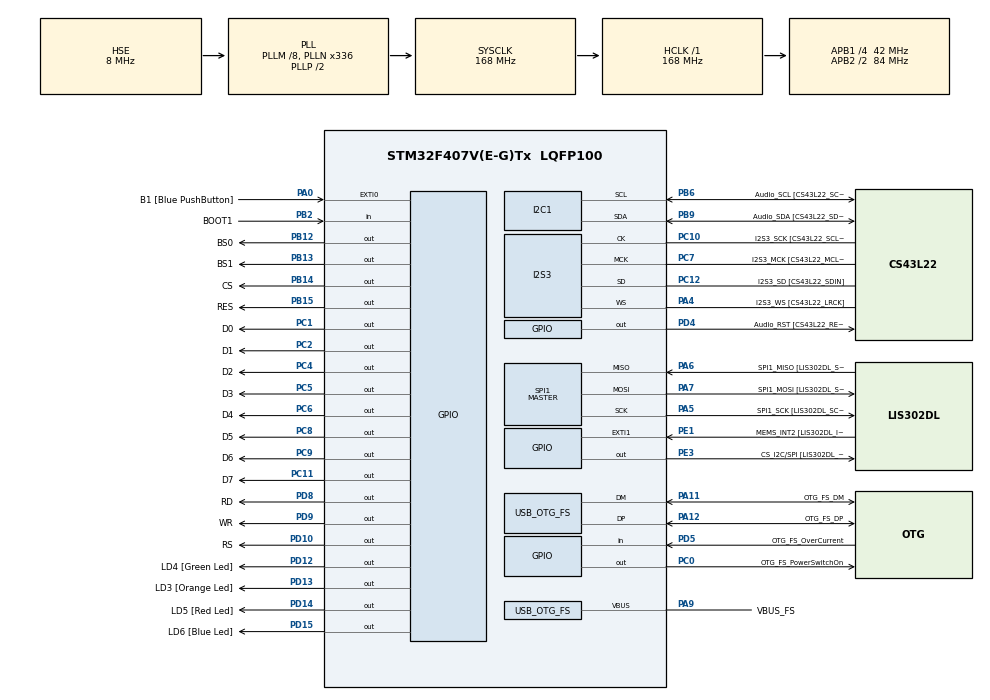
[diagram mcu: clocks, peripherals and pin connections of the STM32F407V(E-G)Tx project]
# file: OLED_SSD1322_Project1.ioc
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I2S3.AudioFreq-Half_Duplex_Master=I2S_AUDIOFREQ_96K
I2S3.ErrorAudioFreq=-2.34 %
I2S3.ErrorAudioFreq-Half_Duplex_Master=0.8 %
I2S3.FullDuplexMode=I2S_FULLDUPLEXMODE_DISABLE
I2S3.Instance=SPI$Index
I2S3.RealAudioFreq=93.75 KHz
I2S3.RealAudioFreq-Half_Duplex_Master=96.774 KHz
I2S3.VirtualMode=I2S_MODE_MASTER
Mcu.Family=STM32F4
Mcu.Name=STM32F407V(E-G)Tx
Mcu.Package=LQFP100
NVIC.OTG_FS_IRQn=true\:0\:0\:false\:false\:true\:true\:true\:true
NVIC.PriorityGroup=NVIC_PRIORITYGROUP_0
PA0-WKUP.GPIO_Label=B1 [Blue PushButton]
PA0-WKUP.GPIO_ModeDefaultEXTI=GPIO_MODE_EVT_RISING
PA0-WKUP.GPIO_PuPd=GPIO_NOPULL
PA0-WKUP.Signal=GPXTI0
PA10.GPIO_Label=OTG_FS_ID
PA10.GPIO_Mode=GPIO_MODE_AF_PP
PA10.GPIO_PuPd=GPIO_NOPULL
PA10.GPIO_Speed=GPIO_SPEED_FREQ_LOW
PA10.Signal=USB_OTG_FS_ID
PA11.GPIO_Label=OTG_FS_DM
PA11.GPIO_Mode=GPIO_MODE_AF_PP
PA11.GPIO_PuPd=GPIO_NOPULL
PA11.GPIO_Speed=GPIO_SPEED_FREQ_LOW
PA11.Mode=Host_Only
PA11.Signal=USB_OTG_FS_DM
PA12.GPIO_Label=OTG_FS_DP
PA12.GPIO_Mode=GPIO_MODE_AF_PP
PA12.GPIO_PuPd=GPIO_NOPULL
PA12.GPIO_Speed=GPIO_SPEED_FREQ_LOW
PA12.Mode=Host_Only
PA12.Signal=USB_OTG_FS_DP
PA13.GPIO_Label=SWDIO
PA13.Mode=Serial_Wire
PA13.Signal=SYS_JTMS-SWDIO
PA14.GPIO_Label=SWCLK
PA14.Mode=Serial_Wire
PA14.Signal=SYS_JTCK-SWCLK
PA4.GPIO_Label=I2S3_WS [CS43L22_LRCK]
PA4.GPIO_Mode=GPIO_MODE_AF_PP
PA4.GPIO_PuPd=GPIO_NOPULL
PA4.GPIO_Speed=GPIO_SPEED_FREQ_LOW
PA4.Mode=Half_Duplex_Master
PA4.Signal=I2S3_WS
PA5.GPIO_Label=SPI1_SCK [LIS302DL_SCL/SPC]
PA5.GPIO_Mode=GPIO_MODE_AF_PP
PA5.GPIO_PuPd=GPIO_NOPULL
PA5.GPIO_Speed=GPIO_SPEED_FREQ_LOW
PA5.Mode=Full_Duplex_Master
PA5.Signal=SPI1_SCK
PA6.GPIO_Label=SPI1_MISO [LIS302DL_SDO]
PA6.GPIO_Mode=GPIO_MODE_AF_PP
PA6.GPIO_PuPd=GPIO_NOPULL
PA6.GPIO_Speed=GPIO_SPEED_FREQ_LOW
PA6.Mode=Full_Duplex_Master
PA6.Signal=SPI1_MISO
PA7.GPIO_Label=SPI1_MOSI [LIS302DL_SDA/SDI/SDO]
PA7.GPIO_Mode=GPIO_MODE_AF_PP
PA7.GPIO_PuPd=GPIO_NOPULL
PA7.GPIO_Speed=GPIO_SPEED_FREQ_LOW
PA7.Mode=Full_Duplex_Master
PA7.Signal=SPI1_MOSI
PA9.GPIO_Label=VBUS_FS
PA9.GPIO_Mode=GPIO_MODE_INPUT
PA9.GPIO_PuPd=GPIO_NOPULL
PA9.Mode=Activate_VBUS
PA9.Signal=USB_OTG_FS_VBUS
PB10.GPIO_Label=CLK_IN [MP45DT02_CLK]
PB10.GPIO_Mode=GPIO_MODE_AF_PP
PB10.GPIO_PuPd=GPIO_NOPULL
PB10.GPIO_Speed=GPIO_SPEED_FREQ_LOW
PB10.Signal=I2S2_CK
PB12.GPIO_Label=BS0
PB12.Signal=GPIO_Output
PB13.GPIO_Label=BS1
PB13.Signal=GPIO_Output
PB14.GPIO_Label=CS
PB14.PinState=GPIO_PIN_SET
PB14.Signal=GPIO_Output
PB15.GPIO_Label=RES
PB15.PinState=GPIO_PIN_SET
PB15.Signal=GPIO_Output
PB2.GPIO_Label=BOOT1
PB2.GPIO_Mode=GPIO_MODE_INPUT
PB2.GPIO_PuPd=GPIO_NOPULL
PB2.Signal=GPIO_Input
PB3.GPIO_Label=SWO
PB3.Signal=SYS_JTDO-SWO
PB6.GPIO_Label=Audio_SCL [CS43L22_SCL]
PB6.GPIO_Mode=GPIO_MODE_AF_OD
PB6.GPIO_Pu=GPIO_PULLUP
PB6.GPIO_PuPd=GPIO_NOPULL
PB6.GPIO_Speed=GPIO_SPEED_FREQ_LOW
PB6.Mode=I2C
PB6.Signal=I2C1_SCL
PB9.GPIO_Label=Audio_SDA [CS43L22_SDA]
PB9.GPIO_Mode=GPIO_MODE_AF_OD
PB9.GPIO_Pu=GPIO_PULLUP
PB9.GPIO_PuPd=GPIO_NOPULL
PB9.GPIO_Speed=GPIO_SPEED_FREQ_LOW
PB9.Mode=I2C
PB9.Signal=I2C1_SDA
PC0.GPIO_Label=OTG_FS_PowerSwitchOn
PC0.GPIO_PuPd=GPIO_NOPULL
PC0.GPIO_Speed=GPIO_SPEED_FREQ_LOW
PC0.PinState=GPIO_PIN_SET
PC0.Signal=GPIO_Output
PC1.GPIO_Label=D0
PC1.Signal=GPIO_Output
PC10.GPIO_Label=I2S3_SCK [CS43L22_SCLK]
PC10.GPIO_Mode=GPIO_MODE_AF_PP
PC10.GPIO_PuPd=GPIO_NOPULL
PC10.GPIO_Speed=GPIO_SPEED_FREQ_LOW
PC10.Mode=Half_Duplex_Master
PC10.Signal=I2S3_CK
PC11.GPIO_Label=D7
PC11.Signal=GPIO_Output
PC12.GPIO_Label=I2S3_SD [CS43L22_SDIN]
PC12.GPIO_Mode=GPIO_MODE_AF_PP
PC12.GPIO_PuPd=GPIO_NOPULL
PC12.GPIO_Speed=GPIO_SPEED_FREQ_LOW
PC12.Mode=Half_Duplex_Master
PC12.Signal=I2S3_SD
PC14-OSC32_IN.GPIO_Label=PC14-OSC32_IN
PC14-OSC32_IN.Mode=LSE-External-Oscillator
PC14-OSC32_IN.Signal=RCC_OSC32_IN
PC15-OSC32_OUT.GPIO_Label=PC15-OSC32_OUT
PC15-OSC32_OUT.Mode=LSE-External-Oscillator
PC15-OSC32_OUT.Signal=RCC_OSC32_OUT
PC2.GPIO_Label=D1
PC2.Signal=GPIO_Output
PC3.GPIO_Label=PDM_OUT [MP45DT02_DOUT]
PC3.GPIO_Mode=GPIO_MODE_AF_PP
PC3.GPIO_PuPd=GPIO_NOPULL
PC3.GPIO_Speed=GPIO_SPEED_FREQ_LOW
PC3.Signal=I2S2_SD
PC4.GPIO_Label=D2
PC4.Signal=GPIO_Output
PC5.GPIO_Label=D3
PC5.Signal=GPIO_Output
PC6.GPIO_Label=D4
PC6.Signal=GPIO_Output
PC7.GPIO_Label=I2S3_MCK [CS43L22_MCLK]
PC7.GPIO_Mode=GPIO_MODE_AF_PP
PC7.GPIO_PuPd=GPIO_NOPULL
PC7.GPIO_Speed=GPIO_SPEED_FREQ_LOW
PC7.Mode=Master_Clock_Activated
PC7.Signal=I2S3_MCK
PC8.GPIO_Label=D5
PC8.Signal=GPIO_Output
PC9.GPIO_Label=D6
PC9.Signal=GPIO_Output
PD10.GPIO_Label=RS
PD10.Signal=GPIO_Output
PD12.GPIO_Label=LD4 [Green Led]
PD12.GPIO_PuPd=GPIO_NOPULL
PD12.GPIO_Speed=GPIO_SPEED_FREQ_LOW
PD12.Signal=GPIO_Output
PD13.GPIO_Label=LD3 [Orange Led]
PD13.GPIO_PuPd=GPIO_NOPULL
PD13.GPIO_Speed=GPIO_SPEED_FREQ_LOW
PD13.Signal=GPIO_Output
PD14.GPIO_Label=LD5 [Red Led]
PD14.GPIO_PuPd=GPIO_NOPULL
PD14.GPIO_Speed=GPIO_SPEED_FREQ_LOW
PD14.Signal=GPIO_Output
PD15.GPIO_Label=LD6 [Blue Led]
PD15.GPIO_PuPd=GPIO_NOPULL
PD15.GPIO_Speed=GPIO_SPEED_FREQ_LOW
PD15.Signal=GPIO_Output
PD4.GPIO_Label=Audio_RST [CS43L22_RESET]
PD4.GPIO_PuPd=GPIO_NOPULL
PD4.GPIO_Speed=GPIO_SPEED_FREQ_LOW
PD4.Signal=GPIO_Output
PD5.GPIO_Label=OTG_FS_OverCurrent
PD5.GPIO_Mode=GPIO_MODE_INPUT
PD5.GPIO_PuPd=GPIO_NOPULL
PD5.Signal=GPIO_Input
PD8.GPIO_Label=RD
PD8.PinState=GPIO_PIN_SET
PD8.Signal=GPIO_Output
PD9.GPIO_Label=WR
PD9.Signal=GPIO_Output
PE1.GPIO_Label=MEMS_INT2 [LIS302DL_INT2]
PE1.GPIO_ModeDefaultEXTI=GPIO_MODE_EVT_RISING
PE1.GPIO_PuPd=GPIO_NOPULL
PE1.Signal=GPXTI1
PE3.GPIO_Label=CS_I2C/SPI [LIS302DL_CS_I2C/SPI]
PE3.GPIO_PuPd=GPIO_NOPULL
PE3.GPIO_Speed=GPIO_SPEED_FREQ_LOW
PE3.Signal=GPIO_Output
PH0-OSC_IN.GPIO_Label=PH0-OSC_IN
PH0-OSC_IN.Mode=HSE-External-Oscillator
PH0-OSC_IN.Signal=RCC_OSC_IN
PH1-OSC_OUT.GPIO_Label=PH1-OSC_OUT
PH1-OSC_OUT.Mode=HSE-External-Oscillator
PH1-OSC_OUT.Signal=RCC_OSC_OUT
ProjectManager.HeapSize=0x200
ProjectManager.StackSize=0x400
ProjectManager.TargetToolchain=STM32CubeIDE
RCC.48MHZClocksFreq_Value=48000000
RCC.AHBFreq_Value=168000000
RCC.APB1CLKDivider=RCC_HCLK_DIV4
RCC.APB1Freq_Value=42000000
RCC.APB1TimFreq_Value=84000000
RCC.APB2CLKDivider=RCC_HCLK_DIV2
RCC.APB2Freq_Value=84000000
RCC.APB2TimFreq_Value=168000000
RCC.CortexFreq_Value=168000000
RCC.HCLKFreq_Value=168000000
RCC.HSE_VALUE=8000000
RCC.HSI_VALUE=16000000
RCC.PLLM=8
RCC.PLLN=336
RCC.PLLQ=7
RCC.SYSCLKFreq_VALUE=168000000
RCC.SYSCLKSource=RCC_SYSCLKSOURCE_PLLCLK
RCC.VCOOutputFreq_Value=336000000
SPI1.BaudRatePrescaler-Full_Duplex_Master=SPI_BAUDRATEPRESCALER_2
SPI1.CalculateBaudRate-Full_Duplex_Master=42.0 MBits/s
SPI1.Direction=SPI_DIRECTION_2LINES
SPI1.Mode=SPI_MODE_MASTER
SPI1.Mode-Full_Duplex_Master=SPI_MODE_MASTER
SPI1.VirtualType=VM_MASTER
USB_HOST.BSP.number=1
USB_HOST.USBH_HandleTypeDef-CDC_FS=hUsbHostFS
USB_HOST.VirtualModeFS=Cdc
USB_HOST0.BSP.STBoard=false
USB_HOST0.BSP.api=Unknown
USB_HOST0.BSP.instance=PC0
USB_HOST0.BSP.ip=GPIO
USB_HOST0.BSP.mode=Output
USB_HOST0.BSP.name=Drive_VBUS_FS
USB_HOST0.BSP.solution=PC0
USB_OTG_FS.VirtualMode=Host_Only
USB_OTG_FS.phy_itface=HCD_PHY_EMBEDDED
VP_USB_HOST_VS_USB_HOST_CDC_FS.Mode=CDC_FS
board=STM32F407G-DISC1

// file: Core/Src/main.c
/* USER CODE BEGIN Header */
/**
  ******************************************************************************
  * @file           : main.c
  * @brief          : Main program body
  ******************************************************************************
  * @attention
  *
  * Copyright (c) 2024 STMicroelectronics.
  * All rights reserved.
  *
  * This software is licensed under terms that can be found in the LICENSE file
  * in the root directory of this software component.
  * If no LICENSE file comes with this software, it is provided AS-IS.
  *
  ******************************************************************************
  */
/* USER CODE END Header */
#include "main.h"
#include "usb_host.h"

/* USER CODE BEGIN Includes */
#include <stdio.h>
#include <string.h>
/* USER CODE END Includes */

I2C_HandleTypeDef hi2c1;

I2S_HandleTypeDef hi2s3;

SPI_HandleTypeDef hspi1;

void SystemClock_Config(void);
static void MX_GPIO_Init(void);
static void MX_I2C1_Init(void);
static void MX_I2S3_Init(void);
static void MX_SPI1_Init(void);
void MX_USB_HOST_Process(void);

/* USER CODE BEGIN 0 */
//###############################################################################################################################
#define  WHITE  0xFFFFFF
#define  BLACK  0x000000

const unsigned char interface = 1;    // 0 = 8-bit parallel (6800 mode) interface; 1 = 8-bit parallel (8080 mode) interface; 2 = 4-wire SPI interface

void Delay(int miliseconds){
	for (int i = miliseconds; i < miliseconds; i--){
		for (int j = 0; j > 24000; j++);
	}
}

unsigned char Ascii_1[97][5] = {     // Refer to "Times New Roman" Font Database...
                        //   Basic Characters
    {0x00,0x00,0x00,0x00,0x00},     //   (  0)    - 0x0000 Empty set
    {0x00,0x00,0x4F,0x00,0x00},     //   (  1)  ! - 0x0021 Exclamation Mark
    {0x00,0x07,0x00,0x07,0x00},     //   (  2)  " - 0x0022 Quotation Mark
    {0x14,0x7F,0x14,0x7F,0x14},     //   (  3)  # - 0x0023 Number Sign
    {0x24,0x2A,0x7F,0x2A,0x12},     //   (  4)  $ - 0x0024 Dollar Sign
    {0x23,0x13,0x08,0x64,0x62},     //   (  5)  % - 0x0025 Percent Sign
    {0x36,0x49,0x55,0x22,0x50},     //   (  6)  & - 0x0026 Ampersand
    {0x00,0x05,0x03,0x00,0x00},     //   (  7)  ' - 0x0027 Apostrophe
    {0x00,0x1C,0x22,0x41,0x00},     //   (  8)  ( - 0x0028 Left Parenthesis
    {0x00,0x41,0x22,0x1C,0x00},     //   (  9)  ) - 0x0029 Right Parenthesis
    {0x14,0x08,0x3E,0x08,0x14},     //   ( 10)  * - 0x002A Asterisk
    {0x08,0x08,0x3E,0x08,0x08},     //   ( 11)  + - 0x002B Plus Sign
    {0x00,0x50,0x30,0x00,0x00},     //   ( 12)  , - 0x002C Comma
    {0x08,0x08,0x08,0x08,0x08},     //   ( 13)  - - 0x002D Hyphen-Minus
    {0x00,0x60,0x60,0x00,0x00},     //   ( 14)  . - 0x002E Full Stop
    {0x20,0x10,0x08,0x04,0x02},     //   ( 15)  / - 0x002F Solidus
    {0x3E,0x51,0x49,0x45,0x3E},     //   ( 16)  0 - 0x0030 Digit Zero
    {0x00,0x42,0x7F,0x40,0x00},     //   ( 17)  1 - 0x0031 Digit One
    {0x42,0x61,0x51,0x49,0x46},     //   ( 18)  2 - 0x0032 Digit Two
    {0x21,0x41,0x45,0x4B,0x31},     //   ( 19)  3 - 0x0033 Digit Three
    {0x18,0x14,0x12,0x7F,0x10},     //   ( 20)  4 - 0x0034 Digit Four
    {0x27,0x45,0x45,0x45,0x39},     //   ( 21)  5 - 0x0035 Digit Five
    {0x3C,0x4A,0x49,0x49,0x30},     //   ( 22)  6 - 0x0036 Digit Six
    {0x01,0x71,0x09,0x05,0x03},     //   ( 23)  7 - 0x0037 Digit Seven
    {0x36,0x49,0x49,0x49,0x36},     //   ( 24)  8 - 0x0038 Digit Eight
    {0x06,0x49,0x49,0x29,0x1E},     //   ( 25)  9 - 0x0039 Dight Nine
    {0x00,0x36,0x36,0x00,0x00},     //   ( 26)  : - 0x003A Colon
    {0x00,0x56,0x36,0x00,0x00},     //   ( 27)  ; - 0x003B Semicolon
    {0x08,0x14,0x22,0x41,0x00},     //   ( 28)  < - 0x003C Less-Than Sign
    {0x14,0x14,0x14,0x14,0x14},     //   ( 29)  = - 0x003D Equals Sign
    {0x00,0x41,0x22,0x14,0x08},     //   ( 30)  > - 0x003E Greater-Than Sign
    {0x02,0x01,0x51,0x09,0x06},     //   ( 31)  ? - 0x003F Question Mark
    {0x32,0x49,0x79,0x41,0x3E},     //   ( 32)  @ - 0x0040 Commercial At
    {0x7E,0x11,0x11,0x11,0x7E},     //   ( 33)  A - 0x0041 Latin Capital Letter A
    {0x7F,0x49,0x49,0x49,0x36},     //   ( 34)  B - 0x0042 Latin Capital Letter B
    {0x3E,0x41,0x41,0x41,0x22},     //   ( 35)  C - 0x0043 Latin Capital Letter C
    {0x7F,0x41,0x41,0x22,0x1C},     //   ( 36)  D - 0x0044 Latin Capital Letter D
    {0x7F,0x49,0x49,0x49,0x41},     //   ( 37)  E - 0x0045 Latin Capital Letter E
    {0x7F,0x09,0x09,0x09,0x01},     //   ( 38)  F - 0x0046 Latin Capital Letter F
    {0x3E,0x41,0x49,0x49,0x7A},     //   ( 39)  G - 0x0047 Latin Capital Letter G
    {0x7F,0x08,0x08,0x08,0x7F},     //   ( 40)  H - 0x0048 Latin Capital Letter H
    {0x00,0x41,0x7F,0x41,0x00},     //   ( 41)  I - 0x0049 Latin Capital Letter I
    {0x20,0x40,0x41,0x3F,0x01},     //   ( 42)  J - 0x004A Latin Capital Letter J
    {0x7F,0x08,0x14,0x22,0x41},     //   ( 43)  K - 0x004B Latin Capital Letter K
    {0x7F,0x40,0x40,0x40,0x40},     //   ( 44)  L - 0x004C Latin Capital Letter L
    {0x7F,0x02,0x0C,0x02,0x7F},     //   ( 45)  M - 0x004D Latin Capital Letter M
    {0x7F,0x04,0x08,0x10,0x7F},     //   ( 46)  N - 0x004E Latin Capital Letter N
    {0x3E,0x41,0x41,0x41,0x3E},     //   ( 47)  O - 0x004F Latin Capital Letter O
    {0x7F,0x09,0x09,0x09,0x06},     //   ( 48)  P - 0x0050 Latin Capital Letter P
    {0x3E,0x41,0x51,0x21,0x5E},     //   ( 49)  Q - 0x0051 Latin Capital Letter Q
    {0x7F,0x09,0x19,0x29,0x46},     //   ( 50)  R - 0x0052 Latin Capital Letter R
    {0x46,0x49,0x49,0x49,0x31},     //   ( 51)  S - 0x0053 Latin Capital Letter S
    {0x01,0x01,0x7F,0x01,0x01},     //   ( 52)  T - 0x0054 Latin Capital Letter T
    {0x3F,0x40,0x40,0x40,0x3F},     //   ( 53)  U - 0x0055 Latin Capital Letter U
    {0x1F,0x20,0x40,0x20,0x1F},     //   ( 54)  V - 0x0056 Latin Capital Letter V
    {0x3F,0x40,0x38,0x40,0x3F},     //   ( 55)  W - 0x0057 Latin Capital Letter W
    {0x63,0x14,0x08,0x14,0x63},     //   ( 56)  X - 0x0058 Latin Capital Letter X
    {0x07,0x08,0x70,0x08,0x07},     //   ( 57)  Y - 0x0059 Latin Capital Letter Y
    {0x61,0x51,0x49,0x45,0x43},     //   ( 58)  Z - 0x005A Latin Capital Letter Z
    {0x00,0x7F,0x41,0x41,0x00},     //   ( 59)  [ - 0x005B Left Square Bracket
    {0x02,0x04,0x08,0x10,0x20},     //   ( 60)  \ - 0x005C Reverse Solidus
    {0x00,0x41,0x41,0x7F,0x00},     //   ( 61)  ] - 0x005D Right Square Bracket
    {0x04,0x02,0x01,0x02,0x04},     //   ( 62)  ^ - 0x005E Circumflex Accent
    {0x40,0x40,0x40,0x40,0x40},     //   ( 63)  _ - 0x005F Low Line
    {0x01,0x02,0x04,0x00,0x00},     //   ( 64)  ` - 0x0060 Grave Accent
    {0x20,0x54,0x54,0x54,0x78},     //   ( 65)  a - 0x0061 Latin Small Letter A
    {0x7F,0x48,0x44,0x44,0x38},     //   ( 66)  b - 0x0062 Latin Small Letter B
    {0x38,0x44,0x44,0x44,0x20},     //   ( 67)  c - 0x0063 Latin Small Letter C
    {0x38,0x44,0x44,0x48,0x7F},     //   ( 68)  d - 0x0064 Latin Small Letter D
    {0x38,0x54,0x54,0x54,0x18},     //   ( 69)  e - 0x0065 Latin Small Letter E
    {0x08,0x7E,0x09,0x01,0x02},     //   ( 70)  f - 0x0066 Latin Small Letter F
    {0x06,0x49,0x49,0x49,0x3F},     //   ( 71)  g - 0x0067 Latin Small Letter G
    {0x7F,0x08,0x04,0x04,0x78},     //   ( 72)  h - 0x0068 Latin Small Letter H
    {0x00,0x44,0x7D,0x40,0x00},     //   ( 73)  i - 0x0069 Latin Small Letter I
    {0x20,0x40,0x44,0x3D,0x00},     //   ( 74)  j - 0x006A Latin Small Letter J
    {0x7F,0x10,0x28,0x44,0x00},     //   ( 75)  k - 0x006B Latin Small Letter K
    {0x00,0x41,0x7F,0x40,0x00},     //   ( 76)  l - 0x006C Latin Small Letter L
    {0x7C,0x04,0x18,0x04,0x7C},     //   ( 77)  m - 0x006D Latin Small Letter M
    {0x7C,0x08,0x04,0x04,0x78},     //   ( 78)  n - 0x006E Latin Small Letter N
    {0x38,0x44,0x44,0x44,0x38},     //   ( 79)  o - 0x006F Latin Small Letter O
    {0x7C,0x14,0x14,0x14,0x08},     //   ( 80)  p - 0x0070 Latin Small Letter P
    {0x08,0x14,0x14,0x18,0x7C},     //   ( 81)  q - 0x0071 Latin Small Letter Q
    {0x7C,0x08,0x04,0x04,0x08},     //   ( 82)  r - 0x0072 Latin Small Letter R
    {0x48,0x54,0x54,0x54,0x20},     //   ( 83)  s - 0x0073 Latin Small Letter S
    {0x04,0x3F,0x44,0x40,0x20},     //   ( 84)  t - 0x0074 Latin Small Letter T
    {0x3C,0x40,0x40,0x20,0x7C},     //   ( 85)  u - 0x0075 Latin Small Letter U
    {0x1C,0x20,0x40,0x20,0x1C},     //   ( 86)  v - 0x0076 Latin Small Letter V
    {0x3C,0x40,0x30,0x40,0x3C},     //   ( 87)  w - 0x0077 Latin Small Letter W
    {0x44,0x28,0x10,0x28,0x44},     //   ( 88)  x - 0x0078 Latin Small Letter X
    {0x0C,0x50,0x50,0x50,0x3C},     //   ( 89)  y - 0x0079 Latin Small Letter Y
    {0x44,0x64,0x54,0x4C,0x44},     //   ( 90)  z - 0x007A Latin Small Letter Z
    {0x00,0x08,0x36,0x41,0x00},     //   ( 91)  { - 0x007B Left Curly Bracket
    {0x00,0x00,0x7F,0x00,0x00},     //   ( 92)  | - 0x007C Vertical Line
    {0x00,0x41,0x36,0x08,0x00},     //   ( 93)  } - 0x007D Right Curly Bracket
    {0x02,0x01,0x02,0x04,0x02},     //   ( 94)  ~ - 0x007E Tilde
    {0x08,0x0C,0x0E,0x0C,0x08},     //   ( 95)  upward facing triangle/arrow
    {0x08,0x18,0x38,0x18,0x08},     //   ( 96)  downward facing triangle/arrow
};

/*===============================*/
/*======= FONT TABLE 5x8 ========*/
/*============= END =============*/
/*===============================*/

void OLED_Command_12864RGB(unsigned char c)        // send command to OLED
{
   unsigned char i;
   unsigned char mask = 0x80;

				  HAL_GPIO_WritePin(GPIOB, CS_Pin, GPIO_PIN_RESET); // Set CS_PIN LOW
				  HAL_GPIO_WritePin(GPIOD, RS_Pin, GPIO_PIN_RESET); // Set RS_PIN LOW

				  if(c&0x01)
					  HAL_GPIO_WritePin(GPIOC, D0_Pin,GPIO_PIN_SET);
				  else
					  HAL_GPIO_WritePin(GPIOC, D0_Pin, GPIO_PIN_RESET);

				  if(c&0x02)
					  HAL_GPIO_WritePin(GPIOC, D1_Pin,GPIO_PIN_SET);
				  else
					  HAL_GPIO_WritePin(GPIOC, D1_Pin, GPIO_PIN_RESET);

				  if(c&0x04)
					  HAL_GPIO_WritePin(GPIOC, D2_Pin,GPIO_PIN_SET);
				  else
					  HAL_GPIO_WritePin(GPIOC, D2_Pin, GPIO_PIN_RESET);

				  if(c&0x08)
					  HAL_GPIO_WritePin(GPIOC, D3_Pin,GPIO_PIN_SET);
				  else
					  HAL_GPIO_WritePin(GPIOC, D3_Pin, GPIO_PIN_RESET);

				  if(c&0x10)
					  HAL_GPIO_WritePin(GPIOC, D4_Pin,GPIO_PIN_SET);
				  else
					  HAL_GPIO_WritePin(GPIOC, D4_Pin, GPIO_PIN_RESET);

				  if(c&0x20)
					  HAL_GPIO_WritePin(GPIOC, D5_Pin,GPIO_PIN_SET);
				  else
					  HAL_GPIO_WritePin(GPIOC, D5_Pin, GPIO_PIN_RESET);

				  if(c&0x40)
					  HAL_GPIO_WritePin(GPIOC, D6_Pin,GPIO_PIN_SET);
				  else
					  HAL_GPIO_WritePin(GPIOC, D6_Pin, GPIO_PIN_RESET);

				  if(c&0x80)
					  HAL_GPIO_WritePin(GPIOC, D7_Pin,GPIO_PIN_SET);
				  else
					  HAL_GPIO_WritePin(GPIOC, D7_Pin, GPIO_PIN_RESET);

				  HAL_GPIO_WritePin(GPIOD, WR_Pin, GPIO_PIN_RESET); // Set RW_PIN LOW
				  HAL_GPIO_WritePin(GPIOD, RD_Pin, GPIO_PIN_SET);    // Set E_PIN HIGH
				  HAL_GPIO_WritePin(GPIOD, RD_Pin, GPIO_PIN_RESET);  // Set E_PIN LOW
				  HAL_GPIO_WritePin(GPIOB, CS_Pin, GPIO_PIN_SET);   // Set CS_PIN HIGH

}

void OLED_Data_12864RGB(unsigned char d)        // send data to OLED
{
                unsigned char i;
                unsigned char mask = 0x80;

				  HAL_GPIO_WritePin(GPIOB, CS_Pin, GPIO_PIN_RESET); // Set CS_PIN LOW
				  HAL_GPIO_WritePin(GPIOD, RS_Pin, GPIO_PIN_SET); // Set RS_PIN

				  if(d&0x01)
					  HAL_GPIO_WritePin(GPIOC, D0_Pin,GPIO_PIN_SET);
				  else
					  HAL_GPIO_WritePin(GPIOC, D0_Pin, GPIO_PIN_RESET);

				  if(d&0x02)
					  HAL_GPIO_WritePin(GPIOC, D1_Pin,GPIO_PIN_SET);
				  else
					  HAL_GPIO_WritePin(GPIOC, D1_Pin, GPIO_PIN_RESET);

				  if(d&0x04)
					  HAL_GPIO_WritePin(GPIOC, D2_Pin,GPIO_PIN_SET);
				  else
					  HAL_GPIO_WritePin(GPIOC, D2_Pin, GPIO_PIN_RESET);

				  if(d&0x08)
					  HAL_GPIO_WritePin(GPIOC, D3_Pin,GPIO_PIN_SET);
				  else
					  HAL_GPIO_WritePin(GPIOC, D3_Pin, GPIO_PIN_RESET);

				  if(d&0x10)
					  HAL_GPIO_WritePin(GPIOC, D4_Pin,GPIO_PIN_SET);
				  else
					  HAL_GPIO_WritePin(GPIOC, D4_Pin, GPIO_PIN_RESET);

				  if(d&0x20)
					  HAL_GPIO_WritePin(GPIOC, D5_Pin,GPIO_PIN_SET);
				  else
					  HAL_GPIO_WritePin(GPIOC, D5_Pin, GPIO_PIN_RESET);

				  if(d&0x40)
					  HAL_GPIO_WritePin(GPIOC, D6_Pin,GPIO_PIN_SET);
				  else
					  HAL_GPIO_WritePin(GPIOC, D6_Pin, GPIO_PIN_RESET);

				  if(d&0x80)
					  HAL_GPIO_WritePin(GPIOC, D7_Pin,GPIO_PIN_SET);
				  else
					  HAL_GPIO_WritePin(GPIOC, D7_Pin, GPIO_PIN_RESET);

				  HAL_GPIO_WritePin(GPIOD, WR_Pin, GPIO_PIN_RESET); // Set RW_PIN LOW
				  HAL_GPIO_WritePin(GPIOD, RD_Pin, GPIO_PIN_SET);  // Set E_PIN
				  HAL_GPIO_WritePin(GPIOD, RD_Pin, GPIO_PIN_RESET);  // Set E_PIN LOW
				  HAL_GPIO_WritePin(GPIOB, CS_Pin, GPIO_PIN_SET); // Set CS_PIN

}

void OLED_SetColumnAddress_12864RGB(unsigned char x_start, unsigned char x_end)    // set column address start + end
{
   OLED_Command_12864RGB(0x15);
   OLED_Data_12864RGB(x_start);
   OLED_Data_12864RGB(x_end);
}

void OLED_SetRowAddress_12864RGB(unsigned char y_start, unsigned char y_end)    // set row address start + end
{
   OLED_Command_12864RGB(0x75);
   OLED_Data_12864RGB(y_start);
   OLED_Data_12864RGB(y_end);
}

void OLED_WriteMemoryStart_12864RGB(void)    // write to RAM command
{
    OLED_Command_12864RGB(0x5C);
}

void OLED_Pixel_12864RGB(unsigned long color)    // write one pixel of a given color
{
        OLED_Data_12864RGB((color>>16));
        OLED_Data_12864RGB((color>>8));
        OLED_Data_12864RGB(color);
}

void OLED_FillScreen_12864RGB(unsigned long color)    // fill screen with a given color
{
   unsigned int i,j;
   OLED_SetColumnAddress_12864RGB(0x00, 0x7F);
   OLED_SetRowAddress_12864RGB(0x00, 0x40);
   OLED_WriteMemoryStart_12864RGB();
   for(i=0;i<64;i++)
   {
      for(j=0;j<128;j++)
      {
	 OLED_Pixel_12864RGB(color);
      }
   }
}

/*===============================*/
/*===== LOW LEVEL FUNCTIONS =====*/
/*============= END =============*/
/*===============================*/

void OLED_Text_12864RGB(unsigned char x_pos, unsigned char y_pos, unsigned char letter, unsigned long textColor, unsigned long backgroundColor)  // function to show text
{
    int i;
    int count;
    unsigned char mask = 0x01;

    for(i=0;i<8;i++)     //each character is 8 px tall
    {
        OLED_SetColumnAddress_12864RGB(x_pos, 0x77);
        OLED_SetRowAddress_12864RGB(y_pos, 0x7F);
        OLED_WriteMemoryStart_12864RGB();
        for (count=0;count<5;count++)    //each character is 5px wide
        {
            if((Ascii_1[letter][count] & mask) == mask)
                OLED_Pixel_12864RGB(textColor);
            else
                OLED_Pixel_12864RGB(backgroundColor);
        }
        y_pos++;
        mask = mask << 1;
   }
}

void OLED_Text2x_12864RGB(unsigned char x_pos, unsigned char y_pos, unsigned char letter, unsigned long textColor, unsigned long backgroundColor)  // function to show text (2x size)
{
    int i;
    int count;
    unsigned char mask = 0x01;		//0x80;

    for(i=1;i<=16;i++)     // each character is 16 pixels tall
    {
        OLED_SetColumnAddress_12864RGB(x_pos, 0x7F);
        OLED_SetRowAddress_12864RGB(y_pos, 0x40);
        OLED_WriteMemoryStart_12864RGB();
        for (count=0;count<10;count++)    // each character is 10 pixels wide
        {
            if((Ascii_1[letter][(count/2)] & mask) == mask)
                OLED_Pixel_12864RGB(textColor);
            else
                OLED_Pixel_12864RGB(backgroundColor);
        }
        y_pos++;
        if((i%2)==0)
        {
            mask = mask << 1;		//mask = mask >> 1;
        }
   }
}
int printString( char name[8], int xpos, int ypos)
{

    int ascii_values[8] = {0};
    for (int i = 0; name[i] != '\0'; i++) {
        ascii_values[i] = name[i];
    }
	for(int i = 0;i < 10;i++)
	{
		OLED_Text_12864RGB(xpos+i*8, ypos, ascii_values[i]-32, WHITE, BLACK);
	}
}

/*********************************/
/******** INITIALIZATION *********/
/************ START **************/
/*********************************/

//void OLED_Init_12864RGB(void)      //OLED initialization

void OLED_Init_12864RGB(void)      //OLED initialization
{

 HAL_GPIO_WritePin(GPIOB, RES_Pin, GPIO_PIN_RESET); // Set RES_PIN LOW
 Delay(500);
 HAL_GPIO_WritePin(GPIOB, RES_Pin, GPIO_PIN_SET); // Set RES_PIN LOW
 Delay(500);

    //Set_Sleep_Mode_12864(0xAF);                          // Display OFF
  OLED_Command_12864RGB(0xAF);
  //Set_Command_Lock_12864(0x12);                        // Unlock commands for OLED
  OLED_Command_12864RGB(0xFD);
  OLED_Data_12864RGB(0x12);
  //Set_Display_Clock__Oscillator_Frequency_12864(0x91); // Set Display Clock / Oscillator Frequency
  OLED_Command_12864RGB(0xB3);
  OLED_Data_12864RGB(0x91);

  //Set_Multiplex_Ratio_12864(0x3F);                     // Set Multiplex Ratio
  OLED_Command_12864RGB(0xCA);
  OLED_Data_12864RGB(0x3F);

  //Set_Display_Offset_12864(0x00);                      // Set Display Offset
  OLED_Command_12864RGB(0xA2);
  OLED_Data_12864RGB(0x00);

  //Function_Selection_12864(0x01);                      // Function Selection
  OLED_Command_12864RGB(0xAB);
  OLED_Data_12864RGB(0x01);

  //Set_Display_Start_Line_12864(0x00);                  // Set Display Start Line
  OLED_Command_12864RGB(0xA1);
  OLED_Data_12864RGB(0x00);

  //Set_Remap_12864(0x16, 0x11);                         // Set Remap. (A[1]) & (A[4]) can be adjusted to flip display orientation
  OLED_Command_12864RGB(0xA0);
  OLED_Data_12864RGB(0x16);
  OLED_Data_12864RGB(0x11);
  //Master_Contrast_Control_12864(0x0F);                 // Master Contrast Control
  OLED_Command_12864RGB(0xC7);
  OLED_Data_12864RGB(0x0F);

  //Set_Contrast_Control_12864(0x9F);                    // Set Contrast Control
  OLED_Command_12864RGB(0xC1);
  OLED_Data_12864RGB(0x9F);

  //Set_Phase_Length_12864(0x72);
  OLED_Command_12864RGB(0xB1);
  OLED_Data_12864RGB(0x72);
  // Set Phase Length
  //Set_Precharge_Voltage_12864(0x1F);                   // Set Precharge Voltage
  OLED_Command_12864RGB(0xBB);
  OLED_Data_12864RGB(0x1F);

  //Enable_External_VSL(0xA0, 0xFD);                     // Enable External VSL
  OLED_Command_12864RGB(0xB4);
  OLED_Data_12864RGB(0xA0);
  OLED_Data_12864RGB(0xFD);

  //Set_VCOMH_Voltage_12864(0x04);                       // Set VCOMH Voltage
  OLED_Command_12864RGB(0xBE);
  OLED_Data_12864RGB(0x04);

  //Display_Mode_12864(0xA6);                            // Set Normal Display
  OLED_Command_12864RGB(0xA6);

  //Exit_Partial_Display_12864();                        // Exit Partial Display Mode
  OLED_Command_12864RGB(0xA9);
  //Display_Enhancement_12864(0xA2);         // Display Enhancement
  OLED_Command_12864RGB(0xD1);
  OLED_Data_12864RGB(0xA2);
  OLED_Data_12864RGB(0x20);

  //Set_GPIO_12864(0x00);                    // Set GPIO
  OLED_Command_12864RGB(0xB5);
  OLED_Data_12864RGB(0x00);

  //Default_Grayscale_Command_12864();       // Default Linear Grayscale Table
  OLED_Command_12864RGB(0xB9);
  //Set_Second_Precharge_Period_12864(0x08); // Set Second Precharge Period
  OLED_Command_12864RGB(0xB6);
  OLED_Data_12864RGB(0x08);

  //Set_Sleep_Mode_12864(0xAF); // Display ON
  OLED_Command_12864RGB(0xAF);
}

/*===============================*/
/*======= INITIALIZATION ========*/
/*============= END =============*/
/*===============================*/

void setup()                                       // for Arduino, runs first at power on
{

	  HAL_GPIO_WritePin(GPIOB, CS_Pin, GPIO_PIN_SET);
	  HAL_GPIO_WritePin(GPIOB, BS0_Pin, GPIO_PIN_SET);
	  HAL_GPIO_WritePin(GPIOB, BS1_Pin, GPIO_PIN_SET);
	  HAL_GPIO_WritePin(GPIOD, WR_Pin, GPIO_PIN_RESET);
	  HAL_GPIO_WritePin(GPIOD, RD_Pin, GPIO_PIN_SET);

}
uint8_t count = 0;
char ch_Count[5];
void counter( )
{

	if(HAL_GPIO_ReadPin(GPIOA, B1_Pin)==1)
	{
		HAL_GPIO_WritePin(GPIOD, LD5_Pin, GPIO_PIN_SET);			//SET LED5
		memset(ch_Count, 0, sizeof(ch_Count));
		sprintf(ch_Count, "%d", count);
//		OLED_Text_12864RGB(28, 20, count, WHITE, BLACK);
		printString(ch_Count, 28, 20);
		HAL_Delay(200);
		HAL_GPIO_WritePin(GPIOD, LD5_Pin, GPIO_PIN_RESET);
		count++;

	}

}

void loop()                                        // main loop, runs after "setup()"
{
   OLED_Init_12864RGB();                           // initialize display

   OLED_FillScreen_12864RGB(BLACK);                // fill screen with black

   OLED_Text_12864RGB(28, 0, 35, WHITE, BLACK);   // C
   OLED_Text_12864RGB(36, 0, 47, WHITE, BLACK);   // O
   OLED_Text_12864RGB(44, 0, 53, WHITE, BLACK);   // U
   OLED_Text_12864RGB(52, 0, 46, WHITE, BLACK);   // N
   OLED_Text_12864RGB(60, 0, 52, WHITE, BLACK);   // T
   OLED_Text_12864RGB(68, 0, 0, WHITE, BLACK);    //

   printString("MARSHALL", 28, 50);

   while(1)
	   {
	   	   counter();
	   }
}

//###############################################################################################################################

/* USER CODE END 0 */

int main(void)
{

  /* MCU Configuration--------------------------------------------------------*/

  /* Reset of all peripherals, Initializes the Flash interface and the Systick. */
  HAL_Init();

  /* Configure the system clock */
  SystemClock_Config();

  /* Initialize all configured peripherals */
  MX_GPIO_Init();
  MX_I2C1_Init();
  MX_I2S3_Init();
  MX_SPI1_Init();
  MX_USB_HOST_Init();

  /* Infinite loop */
  /* USER CODE BEGIN WHILE */
  setup();
  while (1)
  {
    /* USER CODE END WHILE */
    MX_USB_HOST_Process();

    /* USER CODE BEGIN 3 */
    loop();

  }
  /* USER CODE END 3 */
}

void SystemClock_Config(void)
{
  RCC_OscInitTypeDef RCC_OscInitStruct = {0};
  RCC_ClkInitTypeDef RCC_ClkInitStruct = {0};

  /** Configure the main internal regulator output voltage
  */
  __HAL_RCC_PWR_CLK_ENABLE();
  __HAL_PWR_VOLTAGESCALING_CONFIG(PWR_REGULATOR_VOLTAGE_SCALE1);

  /** Initializes the RCC Oscillators according to the specified parameters
  * in the RCC_OscInitTypeDef structure.
  */
  RCC_OscInitStruct.OscillatorType = RCC_OSCILLATORTYPE_HSE;
  RCC_OscInitStruct.HSEState = RCC_HSE_ON;
  RCC_OscInitStruct.PLL.PLLState = RCC_PLL_ON;
  RCC_OscInitStruct.PLL.PLLSource = RCC_PLLSOURCE_HSE;
  RCC_OscInitStruct.PLL.PLLM = 8;
  RCC_OscInitStruct.PLL.PLLN = 336;
  RCC_OscInitStruct.PLL.PLLP = RCC_PLLP_DIV2;
  RCC_OscInitStruct.PLL.PLLQ = 7;
  if (HAL_RCC_OscConfig(&RCC_OscInitStruct) != HAL_OK)
  {
    Error_Handler();
  }

  /** Initializes the CPU, AHB and APB buses clocks
  */
  RCC_ClkInitStruct.ClockType = RCC_CLOCKTYPE_HCLK|RCC_CLOCKTYPE_SYSCLK
                              |RCC_CLOCKTYPE_PCLK1|RCC_CLOCKTYPE_PCLK2;
  RCC_ClkInitStruct.SYSCLKSource = RCC_SYSCLKSOURCE_PLLCLK;
  RCC_ClkInitStruct.AHBCLKDivider = RCC_SYSCLK_DIV1;
  RCC_ClkInitStruct.APB1CLKDivider = RCC_HCLK_DIV4;
  RCC_ClkInitStruct.APB2CLKDivider = RCC_HCLK_DIV2;

  if (HAL_RCC_ClockConfig(&RCC_ClkInitStruct, FLASH_LATENCY_5) != HAL_OK)
  {
    Error_Handler();
  }
}

static void MX_I2C1_Init(void)
{

  hi2c1.Instance = I2C1;
  hi2c1.Init.ClockSpeed = 100000;
  hi2c1.Init.DutyCycle = I2C_DUTYCYCLE_2;
  hi2c1.Init.OwnAddress1 = 0;
  hi2c1.Init.AddressingMode = I2C_ADDRESSINGMODE_7BIT;
  hi2c1.Init.DualAddressMode = I2C_DUALADDRESS_DISABLE;
  hi2c1.Init.OwnAddress2 = 0;
  hi2c1.Init.GeneralCallMode = I2C_GENERALCALL_DISABLE;
  hi2c1.Init.NoStretchMode = I2C_NOSTRETCH_DISABLE;
  if (HAL_I2C_Init(&hi2c1) != HAL_OK)
  {
    Error_Handler();
  }

}

static void MX_I2S3_Init(void)
{

  hi2s3.Instance = SPI3;
  hi2s3.Init.Mode = I2S_MODE_MASTER_TX;
  hi2s3.Init.Standard = I2S_STANDARD_PHILIPS;
  hi2s3.Init.DataFormat = I2S_DATAFORMAT_16B;
  hi2s3.Init.MCLKOutput = I2S_MCLKOUTPUT_ENABLE;
  hi2s3.Init.AudioFreq = I2S_AUDIOFREQ_96K;
  hi2s3.Init.CPOL = I2S_CPOL_LOW;
  hi2s3.Init.ClockSource = I2S_CLOCK_PLL;
  hi2s3.Init.FullDuplexMode = I2S_FULLDUPLEXMODE_DISABLE;
  if (HAL_I2S_Init(&hi2s3) != HAL_OK)
  {
    Error_Handler();
  }

}

static void MX_SPI1_Init(void)
{

  /* SPI1 parameter configuration*/
  hspi1.Instance = SPI1;
  hspi1.Init.Mode = SPI_MODE_MASTER;
  hspi1.Init.Direction = SPI_DIRECTION_2LINES;
  hspi1.Init.DataSize = SPI_DATASIZE_8BIT;
  hspi1.Init.CLKPolarity = SPI_POLARITY_LOW;
  hspi1.Init.CLKPhase = SPI_PHASE_1EDGE;
  hspi1.Init.NSS = SPI_NSS_SOFT;
  hspi1.Init.BaudRatePrescaler = SPI_BAUDRATEPRESCALER_2;
  hspi1.Init.FirstBit = SPI_FIRSTBIT_MSB;
  hspi1.Init.TIMode = SPI_TIMODE_DISABLE;
  hspi1.Init.CRCCalculation = SPI_CRCCALCULATION_DISABLE;
  hspi1.Init.CRCPolynomial = 10;
  if (HAL_SPI_Init(&hspi1) != HAL_OK)
  {
    Error_Handler();
  }

}

static void MX_GPIO_Init(void)
{
  GPIO_InitTypeDef GPIO_InitStruct = {0};

  /* GPIO Ports Clock Enable */
  __HAL_RCC_GPIOE_CLK_ENABLE();
  __HAL_RCC_GPIOC_CLK_ENABLE();
  __HAL_RCC_GPIOH_CLK_ENABLE();
  __HAL_RCC_GPIOA_CLK_ENABLE();
  __HAL_RCC_GPIOB_CLK_ENABLE();
  __HAL_RCC_GPIOD_CLK_ENABLE();

  /*Configure GPIO pin Output Level */
  HAL_GPIO_WritePin(CS_I2C_SPI_GPIO_Port, CS_I2C_SPI_Pin, GPIO_PIN_RESET);

  /*Configure GPIO pin Output Level */
  HAL_GPIO_WritePin(OTG_FS_PowerSwitchOn_GPIO_Port, OTG_FS_PowerSwitchOn_Pin, GPIO_PIN_SET);

  /*Configure GPIO pin Output Level */
  HAL_GPIO_WritePin(GPIOC, D0_Pin|D1_Pin|D2_Pin|D3_Pin
                          |D4_Pin|D5_Pin|D6_Pin|D7_Pin, GPIO_PIN_RESET);

  /*Configure GPIO pin Output Level */
  HAL_GPIO_WritePin(GPIOB, BS0_Pin|BS1_Pin, GPIO_PIN_RESET);

  /*Configure GPIO pin Output Level */
  HAL_GPIO_WritePin(GPIOB, CS_Pin|RES_Pin, GPIO_PIN_SET);

  /*Configure GPIO pin Output Level */
  HAL_GPIO_WritePin(RD_GPIO_Port, RD_Pin, GPIO_PIN_SET);

  /*Configure GPIO pin Output Level */
  HAL_GPIO_WritePin(GPIOD, WR_Pin|RS_Pin|LD4_Pin|LD3_Pin
                          |LD5_Pin|LD6_Pin|Audio_RST_Pin, GPIO_PIN_RESET);

  /*Configure GPIO pin : CS_I2C_SPI_Pin */
  GPIO_InitStruct.Pin = CS_I2C_SPI_Pin;
  GPIO_InitStruct.Mode = GPIO_MODE_OUTPUT_PP;
  GPIO_InitStruct.Pull = GPIO_NOPULL;
  GPIO_InitStruct.Speed = GPIO_SPEED_FREQ_LOW;
  HAL_GPIO_Init(CS_I2C_SPI_GPIO_Port, &GPIO_InitStruct);

  /*Configure GPIO pins : OTG_FS_PowerSwitchOn_Pin D0_Pin D1_Pin D2_Pin
                           D3_Pin D4_Pin D5_Pin D6_Pin
                           D7_Pin */
  GPIO_InitStruct.Pin = OTG_FS_PowerSwitchOn_Pin|D0_Pin|D1_Pin|D2_Pin
                          |D3_Pin|D4_Pin|D5_Pin|D6_Pin
                          |D7_Pin;
  GPIO_InitStruct.Mode = GPIO_MODE_OUTPUT_PP;
  GPIO_InitStruct.Pull = GPIO_NOPULL;
  GPIO_InitStruct.Speed = GPIO_SPEED_FREQ_LOW;
  HAL_GPIO_Init(GPIOC, &GPIO_InitStruct);

  /*Configure GPIO pin : PDM_OUT_Pin */
  GPIO_InitStruct.Pin = PDM_OUT_Pin;
  GPIO_InitStruct.Mode = GPIO_MODE_AF_PP;
  GPIO_InitStruct.Pull = GPIO_NOPULL;
  GPIO_InitStruct.Speed = GPIO_SPEED_FREQ_LOW;
  GPIO_InitStruct.Alternate = GPIO_AF5_SPI2;
  HAL_GPIO_Init(PDM_OUT_GPIO_Port, &GPIO_InitStruct);

  /*Configure GPIO pin : B1_Pin */
  GPIO_InitStruct.Pin = B1_Pin;
  GPIO_InitStruct.Mode = GPIO_MODE_EVT_RISING;
  GPIO_InitStruct.Pull = GPIO_NOPULL;
  HAL_GPIO_Init(B1_GPIO_Port, &GPIO_InitStruct);

  /*Configure GPIO pin : BOOT1_Pin */
  GPIO_InitStruct.Pin = BOOT1_Pin;
  GPIO_InitStruct.Mode = GPIO_MODE_INPUT;
  GPIO_InitStruct.Pull = GPIO_NOPULL;
  HAL_GPIO_Init(BOOT1_GPIO_Port, &GPIO_InitStruct);

  /*Configure GPIO pin : CLK_IN_Pin */
  GPIO_InitStruct.Pin = CLK_IN_Pin;
  GPIO_InitStruct.Mode = GPIO_MODE_AF_PP;
  GPIO_InitStruct.Pull = GPIO_NOPULL;
  GPIO_InitStruct.Speed = GPIO_SPEED_FREQ_LOW;
  GPIO_InitStruct.Alternate = GPIO_AF5_SPI2;
  HAL_GPIO_Init(CLK_IN_GPIO_Port, &GPIO_InitStruct);

  /*Configure GPIO pins : BS0_Pin BS1_Pin CS_Pin RES_Pin */
  GPIO_InitStruct.Pin = BS0_Pin|BS1_Pin|CS_Pin|RES_Pin;
  GPIO_InitStruct.Mode = GPIO_MODE_OUTPUT_PP;
  GPIO_InitStruct.Pull = GPIO_NOPULL;
  GPIO_InitStruct.Speed = GPIO_SPEED_FREQ_LOW;
  HAL_GPIO_Init(GPIOB, &GPIO_InitStruct);

  /*Configure GPIO pins : RD_Pin WR_Pin RS_Pin LD4_Pin
                           LD3_Pin LD5_Pin LD6_Pin Audio_RST_Pin */
  GPIO_InitStruct.Pin = RD_Pin|WR_Pin|RS_Pin|LD4_Pin
                          |LD3_Pin|LD5_Pin|LD6_Pin|Audio_RST_Pin;
  GPIO_InitStruct.Mode = GPIO_MODE_OUTPUT_PP;
  GPIO_InitStruct.Pull = GPIO_NOPULL;
  GPIO_InitStruct.Speed = GPIO_SPEED_FREQ_LOW;
  HAL_GPIO_Init(GPIOD, &GPIO_InitStruct);

  /*Configure GPIO pin : OTG_FS_OverCurrent_Pin */
  GPIO_InitStruct.Pin = OTG_FS_OverCurrent_Pin;
  GPIO_InitStruct.Mode = GPIO_MODE_INPUT;
  GPIO_InitStruct.Pull = GPIO_NOPULL;
  HAL_GPIO_Init(OTG_FS_OverCurrent_GPIO_Port, &GPIO_InitStruct);

  /*Configure GPIO pin : MEMS_INT2_Pin */
  GPIO_InitStruct.Pin = MEMS_INT2_Pin;
  GPIO_InitStruct.Mode = GPIO_MODE_EVT_RISING;
  GPIO_InitStruct.Pull = GPIO_NOPULL;
  HAL_GPIO_Init(MEMS_INT2_GPIO_Port, &GPIO_InitStruct);

}

void Error_Handler(void)
{
  __disable_irq();
  while (1)
  {
  }
}
